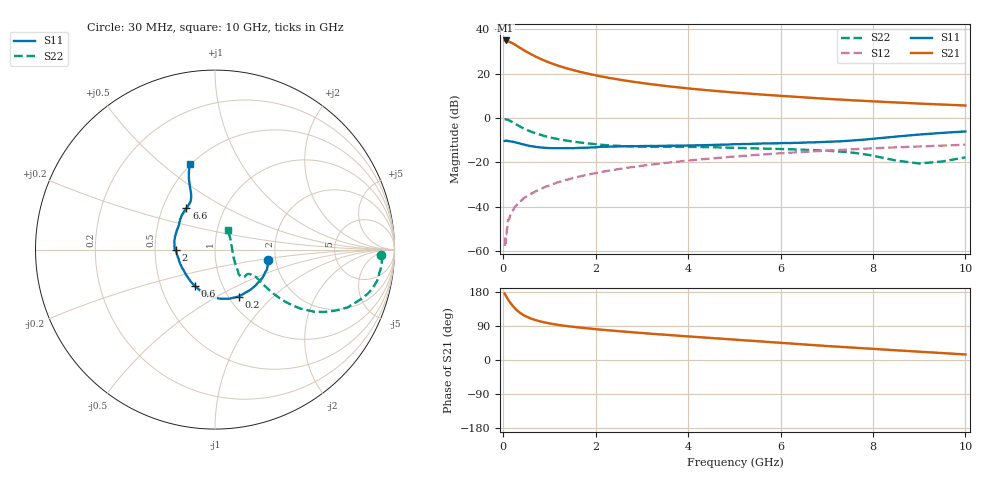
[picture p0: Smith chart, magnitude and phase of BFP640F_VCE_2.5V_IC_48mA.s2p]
! Infineon Technologies  Discrete & RF Semiconductors
! BFP640F
! VCE =  2.5 V,  IC =  48 mA
! Common Emitter S-Parameters:  Apr 2013
# GHz  S  MA  R  50
!  f  S11  S21  S12  S22
! GHz  MAG  ANG  MAG  ANG  MAG  ANG  MAG  ANG
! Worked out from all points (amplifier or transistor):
!   99 points, 30 MHz to 10 GHz, reference 50 ohm
!   highest |S21| = 34.9 dB at 50 MHz (marker M1)
!   |S21| within 3 dB of that: start of sweep to 337.5 MHz
!   unconditionally stable (mu >= 1): 1.273 GHz to end of sweep
!   at 350 MHz: K = 0.65, MSG = 34.8 dB, |S12| = -37.9 dB
!   at 3.5 GHz: K = 1.08, MAG = 15.6 dB, |S12| = -20.3 dB
!   at 10 GHz: K = 1.05, MAG = 7.5 dB, |S12| = -12.0 dB
!   S11 on the Smith chart (normalised r, x): 30 MHz: 1.83, -0.24; 200 MHz: 1.11, -0.64; 600 MHz: 0.74, -0.32; 2 GHz: 0.64, -0.00; 6.6 GHz: 0.66, +0.33; 10 GHz: 0.49, +0.63
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0.03  0.3033 -11.4  54.44 175.2  0.0013 121.8  0.9258 -1.9
0.05  0.3073 -17.8  55.69 171.3  0.0015 95.9  0.9326 -5.2
0.08  0.3078 -27.8  55.19 164.8  0.0032 91.8  0.9241 -9.6
0.12  0.3015 -41.6  52.85 157.0  0.0051 90.0  0.8923 -15.3
0.15  0.2971 -50.2  51.28 151.8  0.0064 79.8  0.8605 -18.6
0.2  0.293 -63.2  48.21 143.6  0.0079 77.8  0.8067 -23.5
0.25  0.2847 -73.9  45.05 136.7  0.0099 74.7  0.7502 -27.0
0.3  0.2761 -82.8  41.96 130.8  0.0112 72.9  0.6988 -29.8
0.4  0.2592 -97.9  36.09 121.5  0.0142 74.1  0.6108 -33.4
0.5  0.2436 -109.0  31.23 114.7  0.0171 74.5  0.5456 -35.4
0.6  0.2326 -118.3  27.38 109.4  0.0196 74.2  0.4933 -36.5
0.8  0.2173 -133.2  21.6 101.9  0.0249 74.4  0.42 -37.0
1  0.2099 -144.8  17.73 96.6  0.0303 74.0  0.3683 -36.6
1.3  0.2091 -158.9  13.83 90.8  0.0387 73.7  0.3184 -35.3
1.7  0.2136 -172.1  10.7 85.0  0.0495 72.2  0.2775 -33.8
2  0.2184 -179.4  9.15 81.4  0.0575 71.0  0.2574 -33.9
3.4  0.2366 156.7  5.433 67.5  0.0942 63.9  0.2235 -39.5
5.1  0.2574 138.5  3.682 53.0  0.1379 54.5  0.2118 -45.3
6.6  0.2811 124.5  2.869 40.2  0.1744 45.6  0.1906 -46.2
6.7  0.2813 123.3  2.835 39.4  0.1769 45.0  0.1891 -45.9
8.5  0.3813 111.6  2.238 25.6  0.2185 34.4  0.1102 -21.4
10  0.4976 106.1  1.913 14.6  0.2501 25.7  0.1298 57.3
